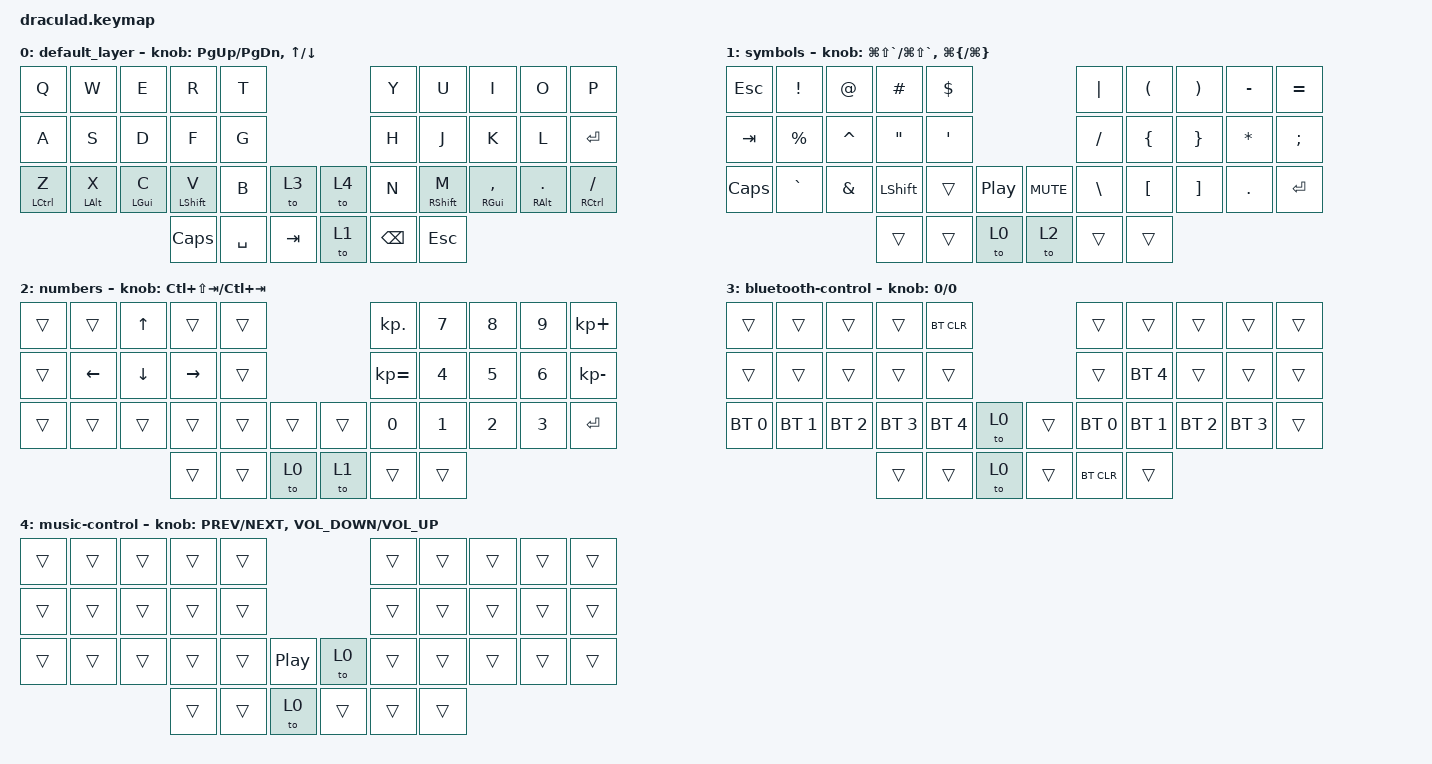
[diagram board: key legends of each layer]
/*
 * Copyright (c) 2020 The ZMK Contributors
 *
 * SPDX-License-Identifier: MIT
 */

#include <behaviors.dtsi>
#include <dt-bindings/zmk/keys.h>
#include <dt-bindings/zmk/bt.h>

&mt {
    tapping-term-ms = <800>;
};

/ {
    behaviors {
        hold_tap_modifier: hold_tap_modifier {
            compatible = "zmk,behavior-hold-tap";
            label = "HOLD_TAP_MODIFIER";
            bindings =
                <&kp>,
                <&kp>;

            #binding-cells = <2>;
            tapping-term-ms = <200>;
            hold-trigger-key-positions = <>;
            flavor = "tap-preferred";
            global-quick-tap;
            quick-tap-ms = <125>;
        };
    };

    keymap {
        compatible = "zmk,keymap";

        default_layer {
            bindings = <
                            &kp Q                          &kp W                          &kp E                            &kp R      &kp T                            &kp Y                             &kp U                               &kp I                             &kp O                                   &kp P
                            &kp A                          &kp S                          &kp D                            &kp F      &kp G                            &kp H                             &kp J                               &kp K                             &kp L                                 &kp RET
&hold_tap_modifier LEFT_CONTROL Z  &hold_tap_modifier LEFT_ALT X  &hold_tap_modifier LEFT_GUI C  &hold_tap_modifier LEFT_SHIFT V      &kp B    &to 3    &to 4          &kp N  &hold_tap_modifier RIGHT_SHIFT M  &hold_tap_modifier RIGHT_GUI COMMA  &hold_tap_modifier RIGHT_ALT DOT  &hold_tap_modifier RIGHT_CONTROL SLASH
                                                                                                                        &kp CAPS  &kp SPACE  &kp TAB    &to 1  &kp BACKSPACE                        &kp ESCAPE
            >;

            sensor-bindings =
                <&inc_dec_kp PAGE_UP PAGE_DOWN>,
                <&inc_dec_kp UP_ARROW DOWN>;
        };

        symbols {
            bindings = <
     &kp ESC  &kp EXCLAMATION    &kp AT_SIGN          &kp POUND        &kp DOLLAR                                       &kp PIPE  &kp LEFT_PARENTHESIS  &kp RIGHT_PARENTHESIS     &kp MINUS  &kp EQUAL
     &kp TAB      &kp PERCENT      &kp CARET  &kp DOUBLE_QUOTES  &kp SINGLE_QUOTE                                      &kp SLASH        &kp LEFT_BRACE        &kp RIGHT_BRACE  &kp ASTERISK   &kp SEMI
&kp CAPSLOCK        &kp GRAVE  &kp AMPERSAND     &kp LEFT_SHIFT            &trans  &kp C_PLAY_PAUSE    &kp C_MUTE  &kp BACKSLASH              &kp LBKT      &kp RIGHT_BRACKET       &kp DOT    &kp RET
                                                         &trans            &trans             &to 0         &to 2         &trans                &trans
            >;

            sensor-bindings =
                <&inc_dec_kp LG(LS(GRAVE)) LG(LS(GRAVE))>,
                <&inc_dec_kp LG(LEFT_BRACE) LG(RIGHT_BRACE)>;
        };

        numbers {
            bindings = <
&trans          &trans    &kp UP_ARROW           &trans  &trans                      &kp KP_DOT  &kp NUMBER_7  &kp NUMBER_8  &kp NUMBER_9   &kp KP_PLUS
&trans  &kp LEFT_ARROW  &kp DOWN_ARROW  &kp RIGHT_ARROW  &trans                    &kp KP_EQUAL  &kp NUMBER_4  &kp NUMBER_5  &kp NUMBER_6  &kp KP_MINUS
&trans          &trans          &trans           &trans  &trans  &trans    &trans  &kp NUMBER_0  &kp NUMBER_1  &kp NUMBER_2  &kp NUMBER_3     &kp ENTER
                                                 &trans  &trans   &to 0     &to 1        &trans        &trans
            >;

            sensor-bindings = <&inc_dec_kp LC(LS(TAB)) LC(TAB)>;
        };

        bluetooth-control {
            bindings = <
      &trans        &trans        &trans        &trans    &bt BT_CLR                         &trans        &trans        &trans        &trans  &trans
      &trans        &trans        &trans        &trans        &trans                         &trans  &bt BT_SEL 4        &trans        &trans  &trans
&bt BT_SEL 0  &bt BT_SEL 1  &bt BT_SEL 2  &bt BT_SEL 3  &bt BT_SEL 4  &to 0    &trans  &bt BT_SEL 0  &bt BT_SEL 1  &bt BT_SEL 2  &bt BT_SEL 3  &trans
                                                &trans        &trans  &to 0    &trans    &bt BT_CLR        &trans
            >;

            sensor-bindings = <&inc_dec_kp 0 0>;
        };

        music-control {
            bindings = <
&trans  &trans  &trans  &trans  &trans                              &trans  &trans  &trans  &trans  &trans
&trans  &trans  &trans  &trans  &trans                              &trans  &trans  &trans  &trans  &trans
&trans  &trans  &trans  &trans  &trans  &kp C_PLAY_PAUSE     &to 0  &trans  &trans  &trans  &trans  &trans
                        &trans  &trans             &to 0    &trans  &trans  &trans
            >;

            sensor-bindings =
                <&inc_dec_kp C_PREV C_NEXT>,
                <&inc_dec_kp C_VOLUME_DOWN C_VOLUME_UP>;
        };
    };
};
